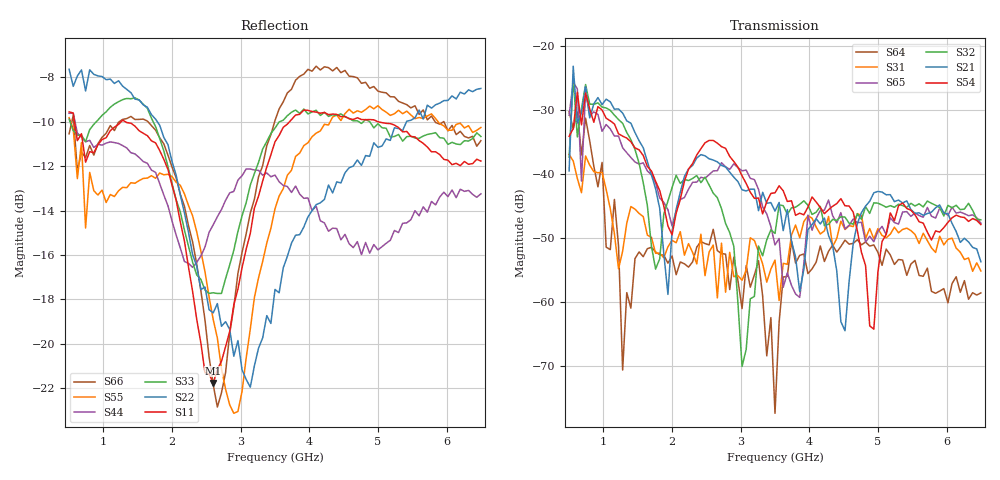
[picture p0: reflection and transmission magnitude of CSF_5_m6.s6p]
!Keysight Technologies,M9804A,MY58100912,A.14.10.03
!Date: Thursday, April 27, 2023 10:28:33
!Correction: S11(C  6-Port  )
!S12(C  6-Port  )
!S13(C  6-Port  )
!S14(C  6-Port  )
!S15(C  6-Port  )
!S16(C  6-Port  )
!S21(C  6-Port  )
!S22(C  6-Port  )
!S23(C  6-Port  )
!S24(C  6-Port  )
!S25(C  6-Port  )
!S26(C  6-Port  )
!S31(C  6-Port  )
!S32(C  6-Port  )
!S33(C  6-Port  )
!S34(C  6-Port  )
!S35(C  6-Port  )
!S36(C  6-Port  )
!S41(C  6-Port  )
!S42(C  6-Port  )
!S43(C  6-Port  )
!S44(C  6-Port  )
!S45(C  6-Port  )
!S46(C  6-Port  )
!S51(C  6-Port  )
!S52(C  6-Port  )
!S53(C  6-Port  )
!S54(C  6-Port  )
!S55(C  6-Port  )
!S56(C  6-Port  )
!S61(C  6-Port  )
!S62(C  6-Port  )
!S63(C  6-Port  )
!S64(C  6-Port  )
!S65(C  6-Port  )
!S66(C  6-Port  )
!S6P File: Measurement: :
# Hz S  RI  R 50
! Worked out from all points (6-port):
!   101 points, 500 MHz to 6.5 GHz, reference 50 ohm
!   strongest paths, dB at 500 MHz, 2 GHz, 3.5 GHz, 5 GHz, 6.5 GHz:
!     S54: -34.1, -49.5, -42.9, -55.2, -47.9
!     S21: -39.5, -48.9, -45.7, -42.7, -53.7
!     S32: -37.3, -42.1, -49.2, -44.5, -47.1
!     S65: -30.8, -48.1, -51.0, -48.9, -47.6
!     S31: -36.9, -50.3, -53.4, -48.5, -55.1
!     S64: -30.2, -52.8, -77.4, -52.2, -58.5
!   lowest |S11| = -21.8 dB at 2.6 GHz (marker M1), VSWR 1.18, Z = 42.7 + j1.99 ohm
!   |S11| at or under -10 dB: 578.6 MHz to 1.259 GHz (680.5 MHz wide, 74.1 % of centre); 1.317 GHz to 3.713 GHz (2.397 GHz wide, 95.3 % of centre); 4.998 GHz to end of sweep
